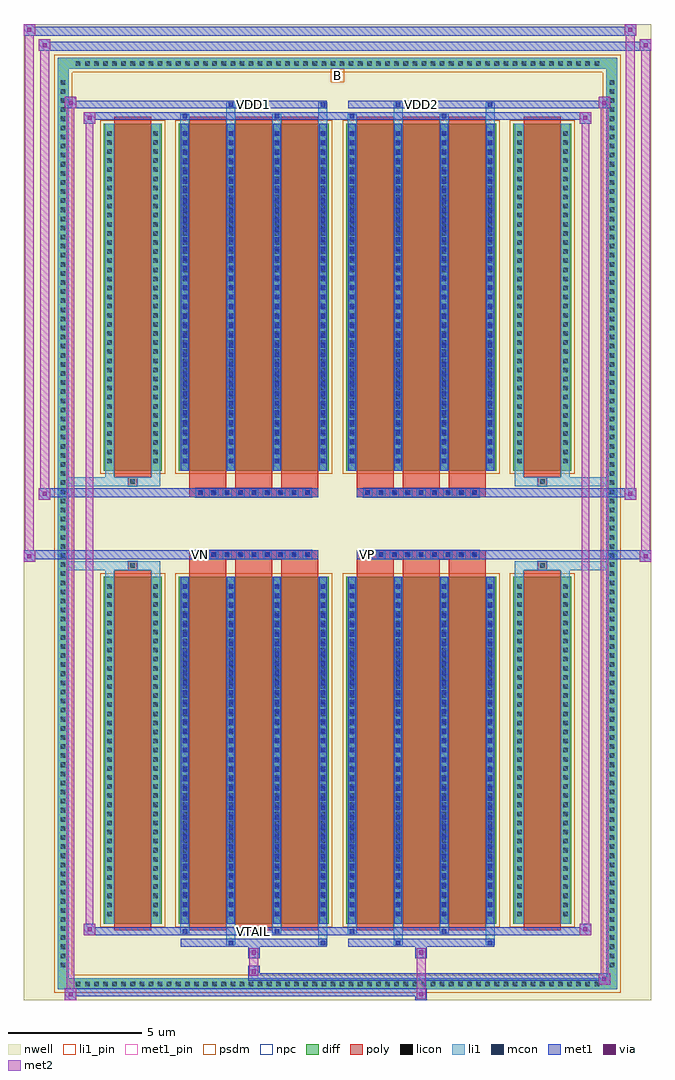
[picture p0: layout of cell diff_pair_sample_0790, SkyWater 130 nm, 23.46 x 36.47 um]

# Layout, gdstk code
import gdstk
lib = gdstk.Library(unit=1e-6, precision=5e-09)
def R(c, l, rs):  # rectangles x0, y0, x1, y1
    for r in rs: c.add(gdstk.rectangle(r[:2], r[2:], *l))
def A(c, l, x, y, w, h, nx, ny, dx, dy):  # array of equal rectangles
    R(c, l, [(x+i*dx, y+j*dy, x+i*dx+w, y+j*dy+h) for i in range(nx) for j in range(ny)])
def P(c, l, *ps):  # polygons
    for p in ps: c.add(gdstk.Polygon(p, *l))
nwell = (64, 20)
diff = (65, 20)
poly = (66, 20)
licon = (66, 44)
li1_pin = (67, 16)
li1 = (67, 20)
mcon = (67, 44)
met1_pin = (68, 16)
met1 = (68, 20)
via = (68, 44)
met2 = (69, 20)
psdm = (94, 20)
npc = (95, 20)

diff_pair_sample_0790 = lib.new_cell('diff_pair_sample_0790')
R(diff_pair_sample_0790, nwell, [(-11.73,-17.8,11.73,18.67), (-9.05,-15.99,-0.01,-0.795), (0.01,-15.99,9.05,-0.795), (-9.05,0.795,-0.01,15.99), (0.01,0.795,9.05,15.99)])
A(diff_pair_sample_0790, diff, -9.895, -17.4, 0.41, 0.41, 58, 2, 0.34, 34.39)
A(diff_pair_sample_0790, diff, -10.46, -16.695, 0.41, 0.41, 1, 98, 0, 0.34)
A(diff_pair_sample_0790, diff, 10.05, -16.695, 0.41, 0.41, 1, 98, 0, 0.34)
R(diff_pair_sample_0790, diff, [(-9.895,-17.4,9.895,-16.99), (-10.46,-16.695,-10.05,16.695), (10.05,-16.695,10.46,16.695), (-8.74,-14.945,-6.57,-1.985), (-5.93,-14.945,-0.32,-1.985), (0.32,-14.945,5.93,-1.985), (6.57,-14.945,8.74,-1.985), (-8.74,1.985,-6.57,14.945), (-5.93,1.985,-0.32,14.945), (0.32,1.985,5.93,14.945), (6.57,1.985,8.74,14.945), (-9.895,16.99,9.895,17.4)])
P(diff_pair_sample_0790, diff, [(10.46,17.4),(-10.46,17.4),(-10.46,-16.99),(-10.05,-16.99),(-10.05,16.99),(10.05,16.99),(10.05,-16.99),(-10.05,-16.99),(-10.46,-16.99),(-10.46,-17.4),(10.46,-17.4)])
A(diff_pair_sample_0790, poly, -5.54, -15.195, 1.39, 13.46, 3, 2, 1.72, 16.93)
A(diff_pair_sample_0790, poly, 0.71, -15.195, 1.39, 13.46, 3, 2, 1.72, 16.93)
A(diff_pair_sample_0790, poly, -5.54, -1.735, 1.39, 0.41, 3, 2, 1.72, 3.06)
A(diff_pair_sample_0790, poly, 0.71, -1.735, 1.39, 0.41, 3, 2, 1.72, 3.06)
A(diff_pair_sample_0790, poly, -5.29, -1.325, 0.33, 0.33, 9, 2, 0.5, 2.32)
A(diff_pair_sample_0790, poly, 0.96, -1.325, 0.33, 0.33, 9, 2, 0.5, 2.32)
R(diff_pair_sample_0790, poly, [(-8.35,-15.195,-6.96,-1.735), (6.96,-15.195,8.35,-1.735), (-7.82,-1.735,-7.49,-1.405), (-7.82,-1.735,-7.49,-1.405), (7.49,-1.735,7.82,-1.405), (7.49,-1.735,7.82,-1.405), (-5.54,-1.325,-0.71,-0.995), (0.71,-1.325,5.54,-0.995), (-5.54,0.995,-0.71,1.325), (0.71,0.995,5.54,1.325), (-7.82,1.405,-7.49,1.735), (-7.82,1.405,-7.49,1.735), (7.49,1.405,7.82,1.735), (7.49,1.405,7.82,1.735), (-8.35,1.735,-6.96,15.195), (6.96,1.735,8.35,15.195)])
A(diff_pair_sample_0790, licon, -9.775, -17.28, 0.17, 0.17, 58, 2, 0.34, 34.39)
A(diff_pair_sample_0790, licon, -10.34, -16.575, 0.17, 0.17, 1, 98, 0, 0.34)
A(diff_pair_sample_0790, licon, 10.17, -16.575, 0.17, 0.17, 1, 98, 0, 0.34)
A(diff_pair_sample_0790, licon, -8.6, -14.67, 0.17, 0.17, 1, 37, 0, 0.34)
A(diff_pair_sample_0790, licon, -6.88, -14.67, 0.17, 0.17, 1, 37, 0, 0.34)
A(diff_pair_sample_0790, licon, -5.79, -14.67, 0.17, 0.17, 4, 37, 1.72, 0.34)
A(diff_pair_sample_0790, licon, 0.46, -14.67, 0.17, 0.17, 4, 37, 1.72, 0.34)
A(diff_pair_sample_0790, licon, 6.71, -14.67, 0.17, 0.17, 1, 37, 0, 0.34)
A(diff_pair_sample_0790, licon, 8.43, -14.67, 0.17, 0.17, 1, 37, 0, 0.34)
A(diff_pair_sample_0790, licon, -5.21, -1.245, 0.17, 0.17, 9, 2, 0.5, 2.32)
A(diff_pair_sample_0790, licon, 1.04, -1.245, 0.17, 0.17, 9, 2, 0.5, 2.32)
A(diff_pair_sample_0790, licon, -8.6, 2.26, 0.17, 0.17, 1, 37, 0, 0.34)
A(diff_pair_sample_0790, licon, -6.88, 2.26, 0.17, 0.17, 1, 37, 0, 0.34)
A(diff_pair_sample_0790, licon, -5.79, 2.26, 0.17, 0.17, 4, 37, 1.72, 0.34)
A(diff_pair_sample_0790, licon, 0.46, 2.26, 0.17, 0.17, 4, 37, 1.72, 0.34)
A(diff_pair_sample_0790, licon, 6.71, 2.26, 0.17, 0.17, 1, 37, 0, 0.34)
A(diff_pair_sample_0790, licon, 8.43, 2.26, 0.17, 0.17, 1, 37, 0, 0.34)
R(diff_pair_sample_0790, licon, [(-7.74,-1.655,-7.57,-1.485), (7.57,-1.655,7.74,-1.485), (-7.74,1.485,-7.57,1.655), (7.57,1.485,7.74,1.655)])
R(diff_pair_sample_0790, li1_pin, [(-0.25,16.49,0.25,16.99)])
A(diff_pair_sample_0790, li1, -9.855, -17.36, 0.33, 0.33, 58, 2, 0.34, 34.39)
A(diff_pair_sample_0790, li1, -10.42, -16.655, 0.33, 0.33, 1, 98, 0, 0.34)
A(diff_pair_sample_0790, li1, 10.09, -16.655, 0.33, 0.33, 1, 98, 0, 0.34)
A(diff_pair_sample_0790, li1, -5.87, -14.945, 0.33, 12.96, 4, 2, 1.72, 16.93)
A(diff_pair_sample_0790, li1, 0.38, -14.945, 0.33, 12.96, 4, 2, 1.72, 16.93)
A(diff_pair_sample_0790, li1, -8.68, -14.75, 0.33, 0.33, 1, 37, 0, 0.34)
A(diff_pair_sample_0790, li1, -6.96, -14.75, 0.33, 0.33, 1, 37, 0, 0.34)
A(diff_pair_sample_0790, li1, -5.87, -14.75, 0.33, 0.33, 4, 37, 1.72, 0.34)
A(diff_pair_sample_0790, li1, 0.38, -14.75, 0.33, 0.33, 4, 37, 1.72, 0.34)
A(diff_pair_sample_0790, li1, 6.63, -14.75, 0.33, 0.33, 1, 37, 0, 0.34)
A(diff_pair_sample_0790, li1, 8.35, -14.75, 0.33, 0.33, 1, 37, 0, 0.34)
A(diff_pair_sample_0790, li1, -5.79, -14.67, 0.17, 0.17, 4, 35, 1.72, 0.36)
A(diff_pair_sample_0790, li1, -5.79, -14.67, 0.17, 12.41, 4, 2, 1.72, 16.93)
A(diff_pair_sample_0790, li1, 0.46, -14.67, 0.17, 0.17, 4, 35, 1.72, 0.36)
A(diff_pair_sample_0790, li1, 0.46, -14.67, 0.17, 12.41, 4, 2, 1.72, 16.93)
A(diff_pair_sample_0790, li1, -5.29, -1.325, 0.33, 0.33, 9, 2, 0.5, 2.32)
A(diff_pair_sample_0790, li1, 0.96, -1.325, 0.33, 0.33, 9, 2, 0.5, 2.32)
A(diff_pair_sample_0790, li1, -8.68, 2.18, 0.33, 0.33, 1, 37, 0, 0.34)
A(diff_pair_sample_0790, li1, -6.96, 2.18, 0.33, 0.33, 1, 37, 0, 0.34)
A(diff_pair_sample_0790, li1, -5.87, 2.18, 0.33, 0.33, 4, 37, 1.72, 0.34)
A(diff_pair_sample_0790, li1, 0.38, 2.18, 0.33, 0.33, 4, 37, 1.72, 0.34)
A(diff_pair_sample_0790, li1, 6.63, 2.18, 0.33, 0.33, 1, 37, 0, 0.34)
A(diff_pair_sample_0790, li1, 8.35, 2.18, 0.33, 0.33, 1, 37, 0, 0.34)
A(diff_pair_sample_0790, li1, -5.79, 2.26, 0.17, 0.17, 4, 35, 1.72, 0.36)
A(diff_pair_sample_0790, li1, 0.46, 2.26, 0.17, 0.17, 4, 35, 1.72, 0.36)
R(diff_pair_sample_0790, li1, [(-10.46,-17.4,-10.05,-16.99), (-10.46,-17.4,-10.05,-16.99), (-10.05,-17.4,10.05,-16.99), (10.05,-17.4,10.46,-16.99), (10.05,-17.4,10.46,-16.99), (-10.46,-16.99,-10.05,16.99), (10.05,-16.99,10.46,16.99), (-4.15,-15.75,-3.82,-14.945), (-4.07,-15.75,-3.9,-15.58), (-0.71,-15.75,-0.38,-14.945), (-0.63,-15.75,-0.46,-15.58), (2.1,-15.75,2.43,-14.945), (2.18,-15.75,2.35,-15.58), (5.54,-15.75,5.87,-14.945), (5.62,-15.75,5.79,-15.58), (-5.87,-15.32,-5.54,-14.945), (-5.79,-15.32,-5.62,-15.15), (-2.43,-15.32,-2.1,-14.945), (-2.35,-15.32,-2.18,-15.15), (0.38,-15.32,0.71,-14.945), (0.46,-15.32,0.63,-15.15), (3.82,-15.32,4.15,-14.945), (3.9,-15.32,4.07,-15.15), (-8.68,-14.945,-8.35,-1.985), (-6.96,-14.945,-6.63,-1.985), (6.63,-14.945,6.96,-1.985), (8.35,-14.945,8.68,-1.985), (-8.68,-1.985,-8.35,-1.405), (-6.96,-1.985,-6.63,-1.405), (6.63,-1.985,6.96,-1.405), (8.35,-1.985,8.68,-1.405), (-10.46,-1.735,-7.82,-1.405), (-8.68,-1.735,-7.82,-1.405), (-7.82,-1.735,-7.49,-1.405), (-7.49,-1.735,-6.63,-1.405), (6.63,-1.735,7.49,-1.405), (7.49,-1.735,7.82,-1.405), (7.49,-1.735,10.46,-1.405), (7.82,-1.735,8.68,-1.405), (-10.46,1.405,-7.82,1.735), (-8.68,1.405,-7.82,1.735), (-8.68,1.405,-8.35,1.985), (-7.82,1.405,-7.49,1.735), (-7.49,1.405,-6.63,1.735), (-6.96,1.405,-6.63,1.985), (6.63,1.405,7.49,1.735), (6.63,1.405,6.96,1.985), (7.49,1.405,7.82,1.735), (7.49,1.405,10.46,1.735), (7.82,1.405,8.68,1.735), (8.35,1.405,8.68,1.985), (-8.68,1.985,-8.35,14.945), (-6.96,1.985,-6.63,14.945), (6.63,1.985,6.96,14.945), (8.35,1.985,8.68,14.945), (-5.87,14.945,-5.54,15.32), (-4.15,14.945,-3.82,15.75), (-2.43,14.945,-2.1,15.32), (-0.71,14.945,-0.38,15.75), (0.38,14.945,0.71,15.32), (2.1,14.945,2.43,15.75), (3.82,14.945,4.15,15.32), (5.54,14.945,5.87,15.75), (-5.79,15.15,-5.62,15.32), (-2.35,15.15,-2.18,15.32), (0.46,15.15,0.63,15.32), (3.9,15.15,4.07,15.32), (-4.07,15.58,-3.9,15.75), (-0.63,15.58,-0.46,15.75), (2.18,15.58,2.35,15.75), (5.62,15.58,5.79,15.75), (-10.46,16.99,-10.05,17.4), (-10.46,16.99,-10.05,17.4), (-10.05,16.99,10.05,17.4), (10.05,16.99,10.46,17.4), (10.05,16.99,10.46,17.4)])
A(diff_pair_sample_0790, mcon, -5.79, -14.67, 0.17, 0.17, 4, 35, 1.72, 0.36)
A(diff_pair_sample_0790, mcon, 0.46, -14.67, 0.17, 0.17, 4, 35, 1.72, 0.36)
A(diff_pair_sample_0790, mcon, -5.21, -1.245, 0.17, 0.17, 9, 2, 0.5, 2.32)
A(diff_pair_sample_0790, mcon, 1.04, -1.245, 0.17, 0.17, 9, 2, 0.5, 2.32)
A(diff_pair_sample_0790, mcon, -5.79, 2.26, 0.17, 0.17, 4, 35, 1.72, 0.36)
A(diff_pair_sample_0790, mcon, 0.46, 2.26, 0.17, 0.17, 4, 35, 1.72, 0.36)
R(diff_pair_sample_0790, mcon, [(-4.07,-15.75,-3.9,-15.58), (-0.63,-15.75,-0.46,-15.58), (2.18,-15.75,2.35,-15.58), (5.62,-15.75,5.79,-15.58), (-5.79,-15.32,-5.62,-15.15), (-2.35,-15.32,-2.18,-15.15), (0.46,-15.32,0.63,-15.15), (3.9,-15.32,4.07,-15.15), (-5.79,15.15,-5.62,15.32), (-2.35,15.15,-2.18,15.32), (0.46,15.15,0.63,15.32), (3.9,15.15,4.07,15.32), (-4.07,15.58,-3.9,15.75), (-0.63,15.58,-0.46,15.75), (2.18,15.58,2.35,15.75), (5.62,15.58,5.79,15.75)])
R(diff_pair_sample_0790, met1_pin, [(-3.26,-15.36,-2.99,-15.09), (-5.26,-1.285,-4.99,-1.015), (0.99,-1.285,1.26,-1.015), (-3.26,15.54,-2.99,15.81), (2.99,15.54,3.26,15.81)])
A(diff_pair_sample_0790, met1, -5.85, -14.945, 0.29, 12.96, 4, 2, 1.72, 16.93)
A(diff_pair_sample_0790, met1, 0.4, -14.945, 0.29, 12.96, 4, 2, 1.72, 16.93)
A(diff_pair_sample_0790, met1, -5.85, -14.73, 0.29, 0.29, 4, 35, 1.72, 0.36)
A(diff_pair_sample_0790, met1, 0.4, -14.73, 0.29, 0.29, 4, 35, 1.72, 0.36)
A(diff_pair_sample_0790, met1, -5.27, -1.305, 0.29, 0.29, 9, 2, 0.5, 2.32)
A(diff_pair_sample_0790, met1, 0.98, -1.305, 0.29, 0.29, 9, 2, 0.5, 2.32)
A(diff_pair_sample_0790, met1, -5.85, 2.2, 0.29, 0.29, 4, 35, 1.72, 0.36)
A(diff_pair_sample_0790, met1, 0.4, 2.2, 0.29, 0.29, 4, 35, 1.72, 0.36)
R(diff_pair_sample_0790, met1, [(-10.19,-17.8,-9.76,-17.37), (2.91,-17.8,3.34,-17.37), (-10.19,-17.66,3.34,-17.37), (9.76,-17.23,10.19,-16.8), (-3.34,-17.09,10.19,-16.8), (-3.34,-16.95,-2.91,-16.52), (-3.34,-16.24,-2.91,-15.81), (2.91,-16.24,3.34,-15.81), (-5.85,-15.81,-0.4,-15.52), (-4.13,-15.81,-3.84,-15.52), (-0.69,-15.81,-0.4,-15.52), (0.4,-15.81,5.85,-15.52), (2.12,-15.81,2.41,-15.52), (5.56,-15.81,5.85,-15.52), (-9.48,-15.38,-9.05,-14.95), (-9.48,-15.38,-5.85,-15.09), (-5.85,-15.38,-5.56,-15.09), (-5.85,-15.38,-0.4,-15.09), (-2.41,-15.38,-2.12,-15.09), (-0.4,-15.38,0.4,-15.09), (0.4,-15.38,0.69,-15.09), (0.4,-15.38,5.85,-15.09), (3.84,-15.38,4.13,-15.09), (5.85,-15.38,9.48,-15.09), (9.05,-15.38,9.48,-14.95), (-11.73,-1.425,-11.3,-0.995), (11.3,-1.425,11.73,-0.995), (-11.73,-1.325,-0.71,-0.995), (-5.54,-1.325,-0.71,-0.995), (0.71,-1.325,5.54,-0.995), (0.71,-1.325,11.73,-0.995), (-11.16,0.895,-10.73,1.325), (10.73,0.895,11.16,1.325), (-11.16,0.995,-5.54,1.325), (-5.54,0.995,-0.71,1.325), (0.71,0.995,5.54,1.325), (5.54,0.995,11.16,1.325), (-9.48,14.95,-9.05,15.38), (9.05,14.95,9.48,15.38), (-9.48,15.09,-5.85,15.38), (-5.85,15.09,-5.56,15.38), (-5.85,15.09,-0.4,15.38), (-2.41,15.09,-2.12,15.38), (-0.4,15.09,0.4,15.38), (0.4,15.09,0.69,15.38), (0.4,15.09,5.85,15.38), (3.84,15.09,4.13,15.38), (5.85,15.09,9.48,15.38), (-10.19,15.52,-9.76,15.95), (-10.19,15.52,-5.85,15.81), (-5.85,15.52,-0.4,15.81), (-4.13,15.52,-3.84,15.81), (-0.69,15.52,-0.4,15.81), (0.4,15.52,5.85,15.81), (2.12,15.52,2.41,15.81), (5.56,15.52,5.85,15.81), (5.85,15.52,10.19,15.81), (9.76,15.52,10.19,15.95), (-11.16,17.67,-10.73,18.1), (-11.16,17.67,-9.05,18), (-9.05,17.67,9.05,18), (9.05,17.67,11.73,18), (11.3,17.67,11.73,18.1), (-11.73,18.24,-11.3,18.67), (-11.73,18.24,-9.05,18.57), (-9.05,18.24,9.05,18.57), (9.05,18.24,11.16,18.57), (10.73,18.24,11.16,18.67)])
R(diff_pair_sample_0790, via, [(-10.05,-17.66,-9.9,-17.51), (3.05,-17.66,3.2,-17.51), (9.9,-17.09,10.05,-16.94), (-3.2,-16.81,-3.05,-16.66), (-3.2,-16.1,-3.05,-15.95), (3.05,-16.1,3.2,-15.95), (-9.34,-15.24,-9.19,-15.09), (9.19,-15.24,9.34,-15.09), (-11.59,-1.285,-11.44,-1.135), (11.44,-1.285,11.59,-1.135), (-11.02,1.035,-10.87,1.185), (10.87,1.035,11.02,1.185), (-9.34,15.09,-9.19,15.24), (9.19,15.09,9.34,15.24), (-10.05,15.66,-9.9,15.81), (9.9,15.66,10.05,15.81), (-11.02,17.81,-10.87,17.96), (11.44,17.81,11.59,17.96), (-11.59,18.38,-11.44,18.53), (10.87,18.38,11.02,18.53)])
R(diff_pair_sample_0790, met2, [(-10.19,-17.8,-9.76,-17.37), (-10.12,-17.8,-9.83,15.95), (-9.83,-17.8,-9.76,-17.37), (-10.14,-17.75,-9.81,-17.42), (2.96,-17.75,3.29,-17.42), (2.96,-17.42,3.29,-16.19), (9.76,-17.23,10.19,-16.8), (9.83,-17.23,10.12,15.95), (10.12,-17.23,10.19,-16.8), (9.81,-17.18,10.14,-16.85), (-3.29,-16.9,-2.96,-16.57), (-3.29,-16.57,-2.96,-16.19), (-3.29,-16.19,-2.96,-15.86), (2.96,-16.19,3.29,-15.86), (-9.48,-15.38,-9.05,-14.95), (-9.41,-15.38,-9.12,15.38), (-9.12,-15.38,-9.05,-14.95), (9.05,-15.38,9.48,-14.95), (9.12,-15.38,9.41,15.38), (9.41,-15.38,9.48,-14.95), (-9.43,-15.33,-9.1,-15), (9.1,-15.33,9.43,-15), (-11.73,-1.425,-11.3,-0.995), (-11.68,-1.425,-11.35,18.67), (-11.35,-1.425,-11.3,-0.995), (11.3,-1.425,11.73,-0.995), (11.35,-1.425,11.68,18.1), (11.68,-1.425,11.73,-0.995), (-11.68,-1.375,-11.35,-1.045), (11.35,-1.375,11.68,-1.045), (-11.16,0.895,-10.73,1.325), (-11.11,0.895,-10.78,18.1), (-10.78,0.895,-10.73,1.325), (10.73,0.895,11.16,1.325), (10.78,0.895,11.11,18.67), (11.11,0.895,11.16,1.325), (-11.11,0.945,-10.78,1.275), (10.78,0.945,11.11,1.275), (-9.48,14.95,-9.05,15.38), (-9.12,14.95,-9.05,15.38), (9.05,14.95,9.48,15.38), (9.41,14.95,9.48,15.38), (-9.43,15,-9.1,15.33), (9.1,15,9.43,15.33), (-10.19,15.52,-9.76,15.95), (-9.83,15.52,-9.76,15.95), (9.76,15.52,10.19,15.95), (10.12,15.52,10.19,15.95), (-10.14,15.57,-9.81,15.9), (9.81,15.57,10.14,15.9), (-11.16,17.67,-10.73,18.1), (-10.78,17.67,-10.73,18.1), (11.3,17.67,11.73,18.1), (11.68,17.67,11.73,18.1), (-11.11,17.72,-10.78,18.05), (11.35,17.72,11.68,18.05), (-11.73,18.24,-11.3,18.67), (-11.35,18.24,-11.3,18.67), (10.73,18.24,11.16,18.67), (11.11,18.24,11.16,18.67), (-11.68,18.29,-11.35,18.62), (10.78,18.29,11.11,18.62)])
R(diff_pair_sample_0790, psdm, [(-8.87,-15.075,-6.44,-1.855), (-6.06,-15.075,-0.19,-1.855), (0.19,-15.075,6.06,-1.855), (6.44,-15.075,8.87,-1.855), (-8.87,1.855,-6.44,15.075), (-6.06,1.855,-0.19,15.075), (0.19,1.855,6.06,15.075), (6.44,1.855,8.87,15.075)])
P(diff_pair_sample_0790, psdm, [(10.59,17.53),(-10.59,17.53),(-10.59,-16.86),(-9.92,-16.86),(-9.92,16.86),(9.92,16.86),(9.92,-16.86),(-9.92,-16.86),(-10.59,-16.86),(-10.59,-17.53),(10.59,-17.53)])
A(diff_pair_sample_0790, npc, -5.31, -1.345, 0.37, 0.37, 9, 2, 0.5, 2.32)
A(diff_pair_sample_0790, npc, 0.94, -1.345, 0.37, 0.37, 9, 2, 0.5, 2.32)
R(diff_pair_sample_0790, npc, [(-7.84,-1.755,-7.47,-1.385), (7.47,-1.755,7.84,-1.385), (-5.31,-1.345,-4.44,-0.975), (-5.31,-1.345,-4.44,-0.975), (-4.81,-1.345,-3.94,-0.975), (-4.81,-1.345,-3.94,-0.975), (-4.31,-1.345,-3.44,-0.975), (-4.31,-1.345,-3.44,-0.975), (-3.81,-1.345,-2.94,-0.975), (-3.81,-1.345,-2.94,-0.975), (-3.31,-1.345,-2.44,-0.975), (-3.31,-1.345,-2.44,-0.975), (-2.81,-1.345,-1.94,-0.975), (-2.81,-1.345,-1.94,-0.975), (-2.31,-1.345,-1.44,-0.975), (-2.31,-1.345,-1.44,-0.975), (-1.81,-1.345,-0.94,-0.975), (-1.81,-1.345,-0.94,-0.975), (0.94,-1.345,1.81,-0.975), (0.94,-1.345,1.81,-0.975), (1.44,-1.345,2.31,-0.975), (1.44,-1.345,2.31,-0.975), (1.94,-1.345,2.81,-0.975), (1.94,-1.345,2.81,-0.975), (2.44,-1.345,3.31,-0.975), (2.44,-1.345,3.31,-0.975), (2.94,-1.345,3.81,-0.975), (2.94,-1.345,3.81,-0.975), (3.44,-1.345,4.31,-0.975), (3.44,-1.345,4.31,-0.975), (3.94,-1.345,4.81,-0.975), (3.94,-1.345,4.81,-0.975), (4.44,-1.345,5.31,-0.975), (4.44,-1.345,5.31,-0.975), (-5.31,0.975,-4.44,1.345), (-5.31,0.975,-4.44,1.345), (-4.81,0.975,-3.94,1.345), (-4.81,0.975,-3.94,1.345), (-4.31,0.975,-3.44,1.345), (-4.31,0.975,-3.44,1.345), (-3.81,0.975,-2.94,1.345), (-3.81,0.975,-2.94,1.345), (-3.31,0.975,-2.44,1.345), (-3.31,0.975,-2.44,1.345), (-2.81,0.975,-1.94,1.345), (-2.81,0.975,-1.94,1.345), (-2.31,0.975,-1.44,1.345), (-2.31,0.975,-1.44,1.345), (-1.81,0.975,-0.94,1.345), (-1.81,0.975,-0.94,1.345), (0.94,0.975,1.81,1.345), (0.94,0.975,1.81,1.345), (1.44,0.975,2.31,1.345), (1.44,0.975,2.31,1.345), (1.94,0.975,2.81,1.345), (1.94,0.975,2.81,1.345), (2.44,0.975,3.31,1.345), (2.44,0.975,3.31,1.345), (2.94,0.975,3.81,1.345), (2.94,0.975,3.81,1.345), (3.44,0.975,4.31,1.345), (3.44,0.975,4.31,1.345), (3.94,0.975,4.81,1.345), (3.94,0.975,4.81,1.345), (4.44,0.975,5.31,1.345), (4.44,0.975,5.31,1.345), (-7.84,1.385,-7.47,1.755), (7.47,1.385,7.84,1.755)])
diff_pair_sample_0790.add(gdstk.Label('VTAIL', (-3.125,-15.225), layer=68, texttype=5))
diff_pair_sample_0790.add(gdstk.Label('VN', (-5.125,-1.15), layer=68, texttype=5))
diff_pair_sample_0790.add(gdstk.Label('VP', (1.125,-1.15), layer=68, texttype=5))
diff_pair_sample_0790.add(gdstk.Label('B', (0,16.74), layer=67, texttype=5))
diff_pair_sample_0790.add(gdstk.Label('VDD2', (3.125,15.675), layer=68, texttype=5))
diff_pair_sample_0790.add(gdstk.Label('VDD1', (-3.125,15.675), layer=68, texttype=5))

lib.write_gds('diff_pair_sample_0790.gds')
